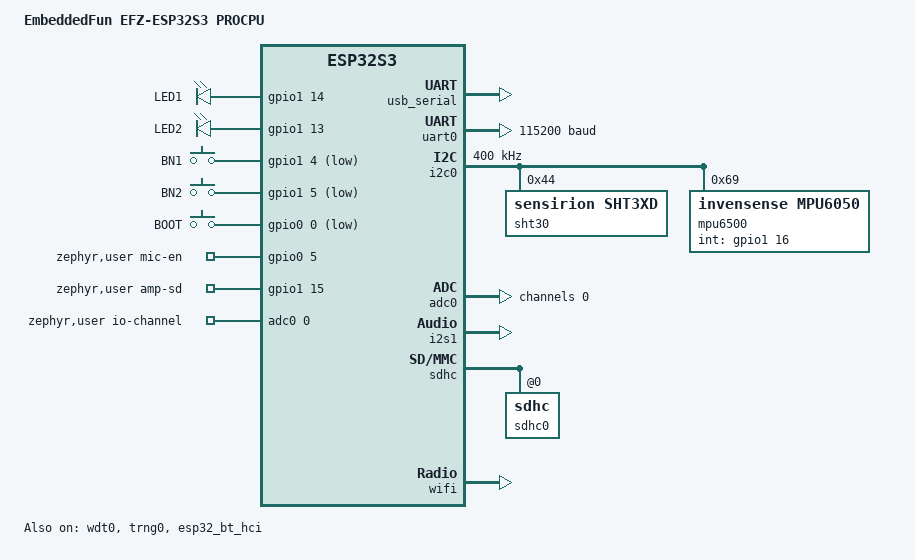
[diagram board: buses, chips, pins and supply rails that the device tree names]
/*
 * EFZ-ESP32S3 Rev 1 — EmbeddedFun Zephyr training board.
 *
 * Bare ESP32-S3 (QFN56, no in-package flash/PSRAM), external 8 MB QSPI
 * flash (EN25QH64A). Console on the native USB Serial/JTAG port.
 *
 * Not described here, on purpose:
 *   - WS2812B on GPIO21: app overlay (i2s0 + worldsemi,ws2812-i2s).
 *   - TFT connector (GPIO38-42, GPIO16): one overlay per display module.
 *
 * SPDX-License-Identifier: Apache-2.0
 */
/dts-v1/;

#include <espressif/esp32s3/esp32s3.dtsi>
#include <zephyr/dt-bindings/gpio/gpio.h>
#include <zephyr/dt-bindings/input/input-event-codes.h>
#include <zephyr/dt-bindings/adc/adc.h>
#include <espressif/partitions_0x0_amp_8M.dtsi>
#include "efz_esp32s3-pinctrl.dtsi"

/ {
	model = "EmbeddedFun EFZ-ESP32S3 PROCPU";
	compatible = "embeddedfun,efz-esp32s3", "espressif,esp32s3";

	aliases {
		led0 = &led1;
		led1 = &led2;
		sw0 = &button_bn1;
		sw1 = &button_bn2;
		sw2 = &button_boot;
		i2c-0 = &i2c0;
		uart-0 = &uart0;
		accel0 = &mpu6500;
		sdhc0 = &sdhc0;
		watchdog0 = &wdt0;
	};

	chosen {
		zephyr,sram = &sram1;
		zephyr,console = &usb_serial;
		zephyr,shell-uart = &usb_serial;
		zephyr,flash = &flash0;
		zephyr,code-partition = &slot0_partition;
		zephyr,bt-hci = &esp32_bt_hci;
	};

	leds {
		compatible = "gpio-leds";

		/* Names follow the board silkscreen: LED1 is on GPIO46, LED2 on GPIO45. */
		led1: led_1 {
			gpios = <&gpio1 14 GPIO_ACTIVE_HIGH>;	/* GPIO46 */
			label = "LED1";
		};

		led2: led_2 {
			gpios = <&gpio1 13 GPIO_ACTIVE_HIGH>;	/* GPIO45 */
			label = "LED2";
		};
	};

	buttons {
		compatible = "gpio-keys";

		/* BN1/BN2 and BOOT all have external 10k pull-ups. */
		button_bn1: button_bn1 {
			gpios = <&gpio1 4 GPIO_ACTIVE_LOW>;	/* GPIO36 */
			label = "BN1";
			zephyr,code = <INPUT_KEY_0>;
		};

		button_bn2: button_bn2 {
			gpios = <&gpio1 5 GPIO_ACTIVE_LOW>;	/* GPIO37 */
			label = "BN2";
			zephyr,code = <INPUT_KEY_1>;
		};

		button_boot: button_boot {
			gpios = <&gpio0 0 GPIO_ACTIVE_LOW>;
			label = "BOOT";
			zephyr,code = <INPUT_KEY_2>;
		};
	};

	zephyr,user {
		/* NTC 10k B3950 with 10k pull-up, header P7 (GPIO1 = ADC1_CH0). */
		io-channels = <&adc0 0>;

		/* Both pulled low on the board: the parts stay off until an app drives these. */
		mic-en-gpios = <&gpio0 5 GPIO_ACTIVE_HIGH>;	/* INMP441 CHIPEN */
		amp-sd-gpios = <&gpio1 15 GPIO_ACTIVE_HIGH>;	/* MAX98357A SD_MODE, GPIO47 */
	};
};

&flash0 {
	reg = <0x0 DT_SIZE_M(8)>;
	ranges = <0x0 0x0 DT_SIZE_M(8)>;
};

&usb_serial {
	status = "okay";
};

&uart0 {
	status = "okay";
	current-speed = <115200>;
	pinctrl-0 = <&uart0_default>;
	pinctrl-names = "default";
};

&gpio0 {
	status = "okay";
};

&gpio1 {
	status = "okay";
};

&i2c0 {
	status = "okay";
	clock-frequency = <I2C_BITRATE_FAST>;
	pinctrl-0 = <&i2c0_default>;
	pinctrl-names = "default";

	sht30: sht3xd@44 {
		compatible = "sensirion,sht3xd";
		reg = <0x44>;
	};

	/* MPU-6500: the mpu6050 driver identifies it by WHO_AM_I (0x70). */
	mpu6500: mpu6050@69 {
		compatible = "invensense,mpu6050";
		reg = <0x69>;
		int-gpios = <&gpio1 16 GPIO_ACTIVE_HIGH>;	/* GPIO48 */
	};
};

&adc0 {
	status = "okay";
	#address-cells = <1>;
	#size-cells = <0>;

	channel@0 {
		reg = <0>;
		zephyr,gain = "ADC_GAIN_1_4";
		zephyr,reference = "ADC_REF_INTERNAL";
		zephyr,acquisition-time = <ADC_ACQ_TIME_DEFAULT>;
		zephyr,resolution = <12>;
	};
};

/* WS2812B lives on i2s0; the LED strip overlay enables it. */
&i2s0 {
	pinctrl-0 = <&i2s0_default>;
	pinctrl-names = "default";
};

/* INMP441 on RX, MAX98357A on TX. */
&i2s1 {
	status = "okay";
	pinctrl-0 = <&i2s1_default>;
	pinctrl-names = "default";
};

&dma {
	status = "okay";
};

&sdhc {
	sdhc0: sdhc@0 {
		status = "okay";
		pinctrl-0 = <&sdhc0_default>;
		pinctrl-names = "default";
		bus-width = <4>;
		max-bus-freq = <25000000>;

		mmc {
			compatible = "zephyr,sdmmc-disk";
			disk-name = "SD";
			status = "okay";
		};
	};
};

&wdt0 {
	status = "okay";
};

&trng0 {
	status = "okay";
};

&esp32_bt_hci {
	status = "okay";
};

&wifi {
	status = "okay";
};
